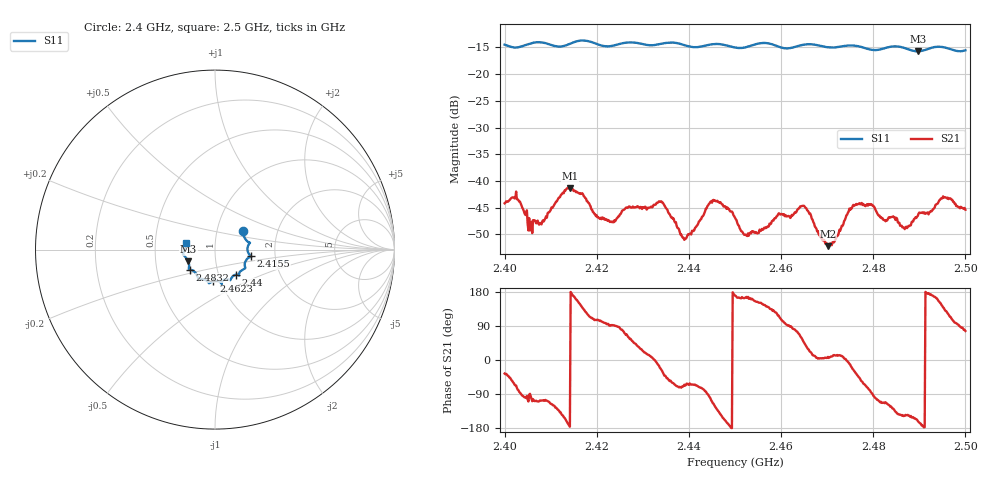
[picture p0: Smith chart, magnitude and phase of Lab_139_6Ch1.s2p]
# Hz S RI R 50
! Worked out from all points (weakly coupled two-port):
!   601 points, 2.4 GHz to 2.5 GHz, reference 50 ohm
!   highest |S21| = -41.31 dB at 2.4142 GHz (marker M1); lowest = -52.2 dB at 2.4702 GHz (marker M2)
!   lowest |S11| = -15.7 dB at 2.4897 GHz (marker M3), VSWR 1.39, Z = 36.7 - j4.94 ohm
!   |S11| at or under -10 dB: start of sweep to end of sweep
!   S12 and S22 are empty: the file has one direction only
!   S11 on the Smith chart (normalised r, x): 2.4 GHz: 1.33, +0.29; 2.4155 GHz: 1.49, -0.11; 2.44 GHz: 1.21, -0.35; 2.4623 GHz: 0.92, -0.34; 2.4832 GHz: 0.74, -0.17; 2.5 GHz: 0.72, +0.05
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2.4e9  0.1562 0.1057  0.00501 -0.00362  0 0  0 0
2.402833e9  0.1662 0.0632  0.00138 -0.00659  0 0  0 0
2.4055e9  0.188 0.0407  4.48e-05 -0.00344  0 0  0 0
2.414167e9  0.1901 -0.0265  -0.00858 -0.000578  0 0  0 0
2.4155e9  0.1983 -0.0362  -0.00737 0.00269  0 0  0 0
2.416667e9  0.2021 -0.0403  -0.006 0.00467  0 0  0 0
2.423167e9  0.1658 -0.0777  -0.000167 0.00416  0 0  0 0
2.433333e9  0.1342 -0.1341  0.00615 -0.00142  0 0  0 0
2.44e9  0.1156 -0.14  0.00131 -0.00288  0 0  0 0
2.445167e9  0.0853 -0.1704  -0.00267 -0.00604  0 0  0 0
2.45e9  0.0636 -0.1656  -0.00445 0.000793  0 0  0 0
2.4525e9  0.0418 -0.1742  -0.003 0.000722  0 0  0 0
2.462333e9  -0.00864 -0.1761  0.000321 0.0048  0 0  0 0
2.466667e9  -0.0337 -0.1869  0.00424 0.0013  0 0  0 0
2.470167e9  -0.05 -0.1712  0.00243 0.000348  0 0  0 0
2.476167e9  -0.0939 -0.1582  0.00496 -0.00339  0 0  0 0
2.483167e9  -0.1389 -0.1114  -0.00199 -0.00391  0 0  0 0
2.483333e9  -0.1398 -0.1113  -0.00216 -0.004  0 0  0 0
2.486833e9  -0.1448 -0.0986  -0.00297 -0.00193  0 0  0 0
2.489667e9  -0.1495 -0.0655  -0.00445 -0.00154  0 0  0 0
2.495333e9  -0.1769 -0.0189  -0.00509 0.00477  0 0  0 0
2.5e9  -0.1626 0.0371  0.00123 0.00524  0 0  0 0
